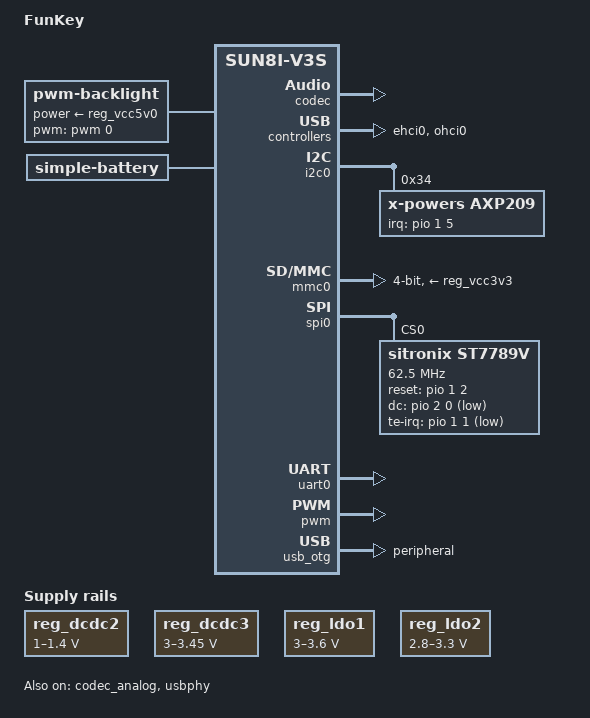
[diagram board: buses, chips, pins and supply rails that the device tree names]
/*
 * Copyright (C) 2019 Michel Stempin <michel.stempin@wanadoo.fr>
 *
 * This file is dual-licensed: you can use it either under the terms
 * of the GPL or the X11 license, at your option. Note that this dual
 * licensing only applies to this file, and not this project as a
 * whole.
 *
 *  a) This file is free software; you can redistribute it and/or
 *     modify it under the terms of the GNU General Public License as
 *     published by the Free Software Foundation; either version 2 of the
 *     License, or (at your option) any later version.
 *
 *     This file is distributed in the hope that it will be useful,
 *     but WITHOUT ANY WARRANTY; without even the implied warranty of
 *     MERCHANTABILITY or FITNESS FOR A PARTICULAR PURPOSE.  See the
 *     GNU General Public License for more details.
 *
 * Or, alternatively,
 *
 *  b) Permission is hereby granted, free of charge, to any person
 *     obtaining a copy of this software and associated documentation
 *     files (the "Software"), to deal in the Software without
 *     restriction, including without limitation the rights to use,
 *     copy, modify, merge, publish, distribute, sublicense, and/or
 *     sell copies of the Software, and to permit persons to whom the
 *     Software is furnished to do so, subject to the following
 *     conditions:
 *
 *     The above copyright notice and this permission notice shall be
 *     included in all copies or substantial portions of the Software.
 *
 *     THE SOFTWARE IS PROVIDED "AS IS", WITHOUT WARRANTY OF ANY KIND,
 *     EXPRESS OR IMPLIED, INCLUDING BUT NOT LIMITED TO THE WARRANTIES
 *     OF MERCHANTABILITY, FITNESS FOR A PARTICULAR PURPOSE AND
 *     NONINFRINGEMENT. IN NO EVENT SHALL THE AUTHORS OR COPYRIGHT
 *     HOLDERS BE LIABLE FOR ANY CLAIM, DAMAGES OR OTHER LIABILITY,
 *     WHETHER IN AN ACTION OF CONTRACT, TORT OR OTHERWISE, ARISING
 *     FROM, OUT OF OR IN CONNECTION WITH THE SOFTWARE OR THE USE OR
 *     OTHER DEALINGS IN THE SOFTWARE.
 */

/dts-v1/;
#include "sun8i-v3s.dtsi"
#include "sunxi-common-regulators.dtsi"

/ {
	model = "FunKey";
	compatible = "funkey", "allwinner,sun8i-v3s";

	aliases {
		serial0 = &uart0;
	};

	chosen {
		stdout-path = "serial0:115200n8";
	};

	backlight: backlight {
		compatible = "pwm-backlight";
		pwms = <&pwm 0 40000 1>;
		brightness-levels = <0 1 2 3 8 14 21 32 46 60 80 100>; //2.2 div factor
		default-brightness-level = <11>;
		power-supply = <&reg_vcc5v0>;
	};

	bat: battery {
		compatible = "simple-battery";
		constant_charge_current_max_microamp = <400000>;
	};
};

&codec {
	allwinner,audio-routing =
		"Headphone", "HP",
		"Headphone", "HPCOM",
		"MIC1", "Mic",
		"Mic",  "HBIAS";
	status = "okay";
};

&codec_analog {
	status = "okay";
};

&ehci0 {
	status = "okay";
};

&i2c0 {
	status = "okay";

	axp209: pmic@34 {
		compatible = "x-powers,axp209";
		reg = <0x34>;
		interrupt-parent = <&pio>;
		interrupts = <1 5 IRQ_TYPE_EDGE_FALLING>;
		interrupt-controller;
		#interrupt-cells = <1>;
	};
};

&mmc0 {
	pinctrl-0 = <&mmc0_pins_a>;
	pinctrl-names = "default";
	broken-cd;
	bus-width = <4>;
	vmmc-supply = <&reg_vcc3v3>;
	vqmmc-supply = <&reg_vcc3v3>;
	status = "okay";
};

&ohci0 {
	status = "okay";
};

#include "axp209.dtsi"

&ac_power_supply {
	status = "okay";
};

&axp_gpio {
	status = "okay";
};

&battery_power_supply {
	status = "okay";
	monitored-battery = <&bat>;
};

&usb_power_supply {
	status = "okay";
};

&reg_dcdc2 {
	regulator-always-on;
	regulator-min-microvolt = <1000000>;
	regulator-max-microvolt = <1400000>;
	regulator-name = "vdd-cpu-sys-ephy";
};

&reg_dcdc3 {
	regulator-always-on;
	regulator-min-microvolt = <3000000>;
	regulator-max-microvolt = <3450000>;
	regulator-name = "vcc-io-ephy-mcsi-usb";
};

&reg_ldo1 {
	regulator-min-microvolt = <3000000>;
	regulator-max-microvolt = <3600000>;
	regulator-name = "vcc-rtc";
};

&reg_ldo2 {
	regulator-always-on;
	regulator-min-microvolt = <2800000>;
	regulator-max-microvolt = <3300000>;
	regulator-name = "avcc-pll";
};

&reg_vcc3v0 {
	regulator-always-on;
	status = "okay";
};

&reg_vcc3v3 {
	regulator-always-on;
	status = "okay";
};

&reg_vcc5v0 {
	regulator-always-on;
	status = "okay";
};

&spi0 {
	status = "okay";

	st7789v@0 {
		compatible = "sitronix,st7789v";
		reg = <0>;
		
		/* SPI freq 
		62.5Mhz should be the max theoritical frequency 
		to respect the display's 16ns minimum writing speed.
		However, above 59Mhz, the SPI->GRAM writing speed is higher 
		than the Display<-GRAM reading spead and it 
		creates inconsistencies in the tearing line position. 
		Theoritically there should be no tearing line at all.
		*/
		spi-max-frequency = <62500000>;
		//spi-max-frequency = <59000000>;
		
		spi_async_mode = "true";
		txbuflen = <115202>; // Not needed in async mode
		fps = <100>; // Not needed in async mode
		buswidth = <8>;

		/* Hardware rotate (counter clockwise)
		Note that 90 or 270 without tearing 
		is impossible even with TE synchro 
		since there isn't the equivalent of 
		MV (x/y inversion) for the display 
		read (from GRAM) order */
		//rotate = <90>;	
		
		/* Software rotate (Clockwise)
		0, 90 or 270 accepted */
		rotate_soft = <270>; 

		debug = <0>;	
		reset-gpios = <&pio 1 2 GPIO_ACTIVE_HIGH>;	//PB2
		dc-gpios = <&pio 2 0 GPIO_ACTIVE_LOW>;		//PC0 (MISO)
		te-irq = <&pio 1 1 GPIO_ACTIVE_LOW>;		//PB1
	};
};

&uart0 {
	pinctrl-0 = <&uart0_pins_a>;
	pinctrl-names = "default";
	status = "okay";
};

&pwm {
        pinctrl-names = "default";
        pinctrl-0 = <&pwm0_pins>;
        status = "okay";
};

&usb_otg {
	dr_mode = "peripheral";
	status = "okay";
};

&usbphy {
	usb0_vbus-supply = <&reg_vcc5v0>;
	phy-supply = <&reg_vcc5v0>;
	vcc = <&reg_vcc5v0>;
	status = "okay";
};
